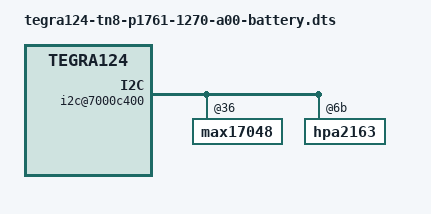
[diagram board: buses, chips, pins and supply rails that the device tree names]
#include "tegra124-tn8-p1761-1270-a00.dts"
#include "tegra124-platforms/tegra124-tn8-sysedp-e1780-1100-a02.dtsi"

/ {
	i2c@7000c400 {
		max17048@36 {
			status = "okay";
		};

		hpa2163@6b {
			charger {
				status = "okay";
			};
		};
	};
};
